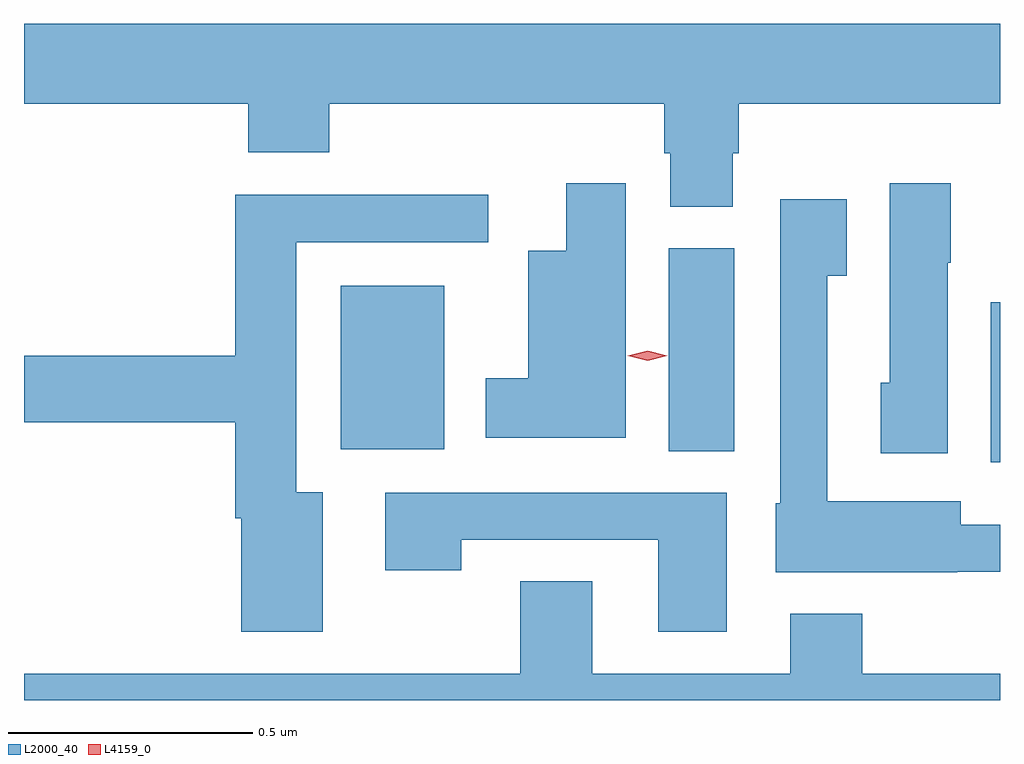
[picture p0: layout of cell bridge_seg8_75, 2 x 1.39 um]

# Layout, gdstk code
import gdstk
lib = gdstk.Library(unit=1e-6, precision=1e-09)
def R(c, l, rs):  # rectangles x0, y0, x1, y1
    for r in rs: c.add(gdstk.rectangle(r[:2], r[2:], *l))
def P(c, l, *ps):  # polygons
    for p in ps: c.add(gdstk.Polygon(p, *l))
L2000_40 = (2000, 40)
L4159_0 = (4159, 0)

bridge_seg8_75 = lib.new_cell('bridge_seg8_75')
R(bridge_seg8_75, L2000_40, [(902.162,1094.454,902.181,1094.781), (901.502,1094.476,901.636,1094.892), (900.83,1094.48,901.042,1094.815)])
P(bridge_seg8_75, L2000_40, [(901.633,1095.087),(901.646,1095.087),(901.646,1095.188),(902.181,1095.188),(902.181,1095.352),(900.181,1095.352),(900.181,1095.188),(900.641,1095.188),(900.641,1095.089),(900.806,1095.089),(900.806,1095.188),(901.493,1095.188),(901.493,1095.087),(901.505,1095.087),(901.505,1094.977),(901.633,1094.977)],
  [(901.414,1095.025),(901.292,1095.025),(901.292,1094.887),(901.214,1094.887),(901.214,1094.626),(901.127,1094.626),(901.127,1094.504),(901.414,1094.504)],
  [(902.074,1094.862),(902.08,1094.862),(902.08,1095.025),(901.955,1095.025),(901.955,1094.616),(901.937,1094.616),(901.937,1094.472),(902.074,1094.472)],
  [(900.793,1094.392),(900.739,1094.392),(900.739,1094.904),(901.132,1094.904),(901.132,1095.002),(900.614,1095.002),(900.614,1094.672),(900.181,1094.672),(900.181,1094.536),(900.614,1094.536),(900.614,1094.339),(900.626,1094.339),(900.626,1094.106),(900.793,1094.106)],
  [(902.093,1094.229),(902.181,1094.229),(902.181,1094.325),(902.101,1094.325),(902.101,1094.374),(901.827,1094.374),(901.827,1094.836),(901.867,1094.836),(901.867,1094.992),(901.731,1094.992),(901.731,1094.37),(901.721,1094.37),(901.721,1094.228),(902.093,1094.228)],
  [(901.621,1094.391),(900.921,1094.391),(900.921,1094.232),(901.077,1094.232),(901.077,1094.295),(901.481,1094.295),(901.481,1094.106),(901.621,1094.106)],
  [(902.181,1094.02),(901.899,1094.02),(901.899,1094.143),(901.751,1094.143),(901.751,1094.02),(901.345,1094.02),(901.345,1094.21),(901.198,1094.21),(901.198,1094.02),(900.181,1094.02),(900.181,1093.966),(902.181,1093.966)])
P(bridge_seg8_75, L4159_0, [(901.459,1094.662),(901.418,1094.672),(901.418,1094.672),(901.418,1094.672),(901.459,1094.682),(901.499,1094.672),(901.499,1094.672),(901.499,1094.672)])

lib.write_gds('bridge_seg8_75.gds')
